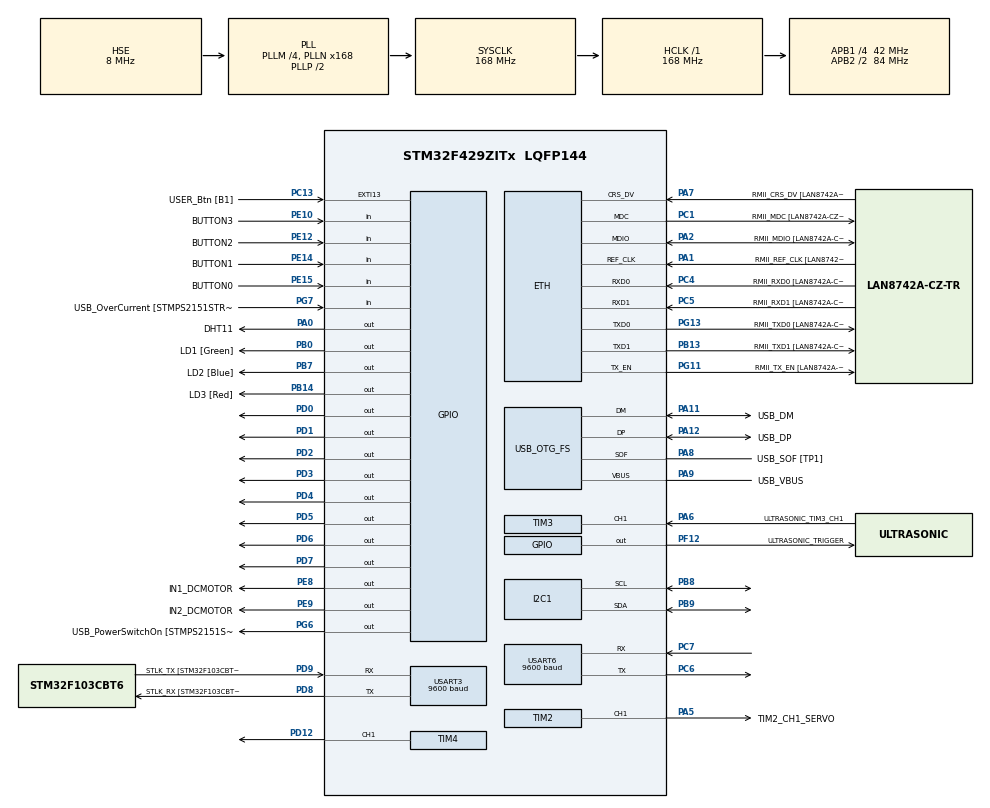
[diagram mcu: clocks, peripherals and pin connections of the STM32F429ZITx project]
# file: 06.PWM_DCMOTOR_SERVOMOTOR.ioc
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ETH.MediaInterface=HAL_ETH_RMII_MODE
ETH.PHY_Name=LAN8742A_PHY_ADDRESS
ETH.PHY_Value=0
ETH.PhyAddress=0
Mcu.Family=STM32F4
Mcu.Name=STM32F429ZITx
Mcu.Package=LQFP144
NVIC.PriorityGroup=NVIC_PRIORITYGROUP_4
NVIC.TIM1_TRG_COM_TIM11_IRQn=true\:0\:0\:false\:false\:true\:true\:true\:true
NVIC.TIM1_UP_TIM10_IRQn=true\:0\:0\:false\:false\:true\:true\:true\:true
NVIC.TIM2_IRQn=true\:0\:0\:false\:false\:true\:true\:true\:true
NVIC.TIM3_IRQn=true\:0\:0\:false\:false\:true\:true\:true\:true
NVIC.TIM4_IRQn=true\:0\:0\:false\:false\:true\:true\:true\:true
NVIC.USART3_IRQn=true\:0\:0\:false\:false\:true\:true\:true\:true
NVIC.USART6_IRQn=true\:0\:0\:false\:false\:true\:true\:true\:true
PA0/WKUP.GPIO_Label=DHT11
PA0/WKUP.Signal=GPIO_Output
PA1.GPIO_Label=RMII_REF_CLK [LAN8742A-CZ-TR_REFCLK0]
PA1.Mode=RMII
PA1.Signal=ETH_REF_CLK
PA10.GPIO_Label=USB_ID
PA10.Signal=USB_OTG_FS_ID
PA11.GPIO_Label=USB_DM
PA11.Mode=Device_Only
PA11.Signal=USB_OTG_FS_DM
PA12.GPIO_Label=USB_DP
PA12.Mode=Device_Only
PA12.Signal=USB_OTG_FS_DP
PA13.GPIO_Label=TMS
PA13.Mode=Serial_Wire
PA13.Signal=SYS_JTMS-SWDIO
PA14.GPIO_Label=TCK
PA14.Mode=Serial_Wire
PA14.Signal=SYS_JTCK-SWCLK
PA2.GPIO_Label=RMII_MDIO [LAN8742A-CZ-TR_MDIO]
PA2.Mode=RMII
PA2.Signal=ETH_MDIO
PA5.GPIO_Label=TIM2_CH1_SERVO
PA5.Signal=S_TIM2_CH1_ETR
PA6.GPIO_Label=ULTRASONIC_TIM3_CH1
PA6.Signal=S_TIM3_CH1
PA7.GPIO_Label=RMII_CRS_DV [LAN8742A-CZ-TR_CRS_DV]
PA7.Mode=RMII
PA7.Signal=ETH_CRS_DV
PA8.GPIO_Label=USB_SOF [TP1]
PA8.Mode=Activate_SOF_FS
PA8.Signal=USB_OTG_FS_SOF
PA9.GPIO_Label=USB_VBUS
PA9.Mode=Activate_VBUS
PA9.Signal=USB_OTG_FS_VBUS
PB0.GPIO_Label=LD1 [Green]
PB0.Signal=GPIO_Output
PB13.GPIO_Label=RMII_TXD1 [LAN8742A-CZ-TR_TXD1]
PB13.Mode=RMII
PB13.Signal=ETH_TXD1
PB14.GPIO_Label=LD3 [Red]
PB14.Signal=GPIO_Output
PB7.GPIO_Label=LD2 [Blue]
PB7.Signal=GPIO_Output
PB8.Mode=I2C
PB8.Signal=I2C1_SCL
PB9.Mode=I2C
PB9.Signal=I2C1_SDA
PC1.GPIO_Label=RMII_MDC [LAN8742A-CZ-TR_MDC]
PC1.Mode=RMII
PC1.Signal=ETH_MDC
PC13.GPIO_Label=USER_Btn [B1]
PC13.Signal=GPXTI13
PC14/OSC32_IN.Mode=LSE-External-Oscillator
PC14/OSC32_IN.Signal=RCC_OSC32_IN
PC15/OSC32_OUT.Mode=LSE-External-Oscillator
PC15/OSC32_OUT.Signal=RCC_OSC32_OUT
PC4.GPIO_Label=RMII_RXD0 [LAN8742A-CZ-TR_RXD0]
PC4.Mode=RMII
PC4.Signal=ETH_RXD0
PC5.GPIO_Label=RMII_RXD1 [LAN8742A-CZ-TR_RXD1]
PC5.Mode=RMII
PC5.Signal=ETH_RXD1
PC6.Mode=Asynchronous
PC6.Signal=USART6_TX
PC7.Mode=Asynchronous
PC7.Signal=USART6_RX
PD0.Signal=GPIO_Output
PD1.Signal=GPIO_Output
PD12.Signal=S_TIM4_CH1
PD2.Signal=GPIO_Output
PD3.Signal=GPIO_Output
PD4.Signal=GPIO_Output
PD5.Signal=GPIO_Output
PD6.Signal=GPIO_Output
PD7.Signal=GPIO_Output
PD8.GPIO_Label=STLK_RX [STM32F103CBT6_PA3]
PD8.Mode=Asynchronous
PD8.Signal=USART3_TX
PD9.GPIO_Label=STLK_TX [STM32F103CBT6_PA2]
PD9.Mode=Asynchronous
PD9.Signal=USART3_RX
PE10.GPIO_Label=BUTTON3
PE10.Signal=GPIO_Input
PE12.GPIO_Label=BUTTON2
PE12.Signal=GPIO_Input
PE14.GPIO_Label=BUTTON1
PE14.Signal=GPIO_Input
PE15.GPIO_Label=BUTTON0
PE15.Signal=GPIO_Input
PE8.GPIO_Label=IN1_DCMOTOR
PE8.Signal=GPIO_Output
PE9.GPIO_Label=IN2_DCMOTOR
PE9.Signal=GPIO_Output
PF12.GPIO_Label=ULTRASONIC_TRIGGER
PF12.Signal=GPIO_Output
PG11.GPIO_Label=RMII_TX_EN [LAN8742A-CZ-TR_TXEN]
PG11.Mode=RMII
PG11.Signal=ETH_TX_EN
PG13.GPIO_Label=RMII_TXD0 [LAN8742A-CZ-TR_TXD0]
PG13.Mode=RMII
PG13.Signal=ETH_TXD0
PG6.GPIO_Label=USB_PowerSwitchOn [STMPS2151STR_EN]
PG6.Signal=GPIO_Output
PG7.GPIO_Label=USB_OverCurrent [STMPS2151STR_FAULT]
PG7.Signal=GPIO_Input
PH0/OSC_IN.GPIO_Label=MCO [STM32F103CBT6_PA8]
PH0/OSC_IN.Mode=HSE-External-Clock-Source
PH0/OSC_IN.Signal=RCC_OSC_IN
PH1/OSC_OUT.Mode=HSE-External-Clock-Source
PH1/OSC_OUT.Signal=RCC_OSC_OUT
ProjectManager.HeapSize=0x200
ProjectManager.StackSize=0x400
ProjectManager.TargetToolchain=STM32CubeIDE
RCC.48MHZClocksFreq_Value=48000000
RCC.AHBFreq_Value=168000000
RCC.APB1CLKDivider=RCC_HCLK_DIV4
RCC.APB1Freq_Value=42000000
RCC.APB1TimFreq_Value=84000000
RCC.APB2CLKDivider=RCC_HCLK_DIV2
RCC.APB2Freq_Value=84000000
RCC.APB2TimCLKDivider=2
RCC.APB2TimFreq_Value=168000000
RCC.CortexFreq_Value=168000000
RCC.HCLKFreq_Value=168000000
RCC.HSE_VALUE=8000000
RCC.HSI_VALUE=16000000
RCC.PLLM=4
RCC.PLLMUL=RCC_PLL_MUL9
RCC.PLLN=168
RCC.PLLQ=7
RCC.PRESCALERUSB=RCC_USBCLKSOURCE_PLL_DIV1_5
RCC.SYSCLKFreq_VALUE=168000000
RCC.SYSCLKSource=RCC_SYSCLKSOURCE_PLLCLK
RCC.SYSCLKSourceVirtual=RCC_SYSCLKSOURCE_PLLCLK
RCC.USBFreq_Value=48000000
RCC.VCOOutputFreq_Value=336000000
SH.S_TIM2_CH1_ETR.0=TIM2_CH1,PWM Generation1 CH1
SH.S_TIM3_CH1.0=TIM3_CH1,Input_Capture1_from_TI1
SH.S_TIM4_CH1.0=TIM4_CH1,PWM Generation1 CH1
TIM10.Period=10000-1
TIM10.Prescaler=168-1
TIM11.Prescaler=168-1
TIM2.Channel-PWM\ Generation1\ CH1=TIM_CHANNEL_1
TIM2.Period=1000-1
TIM2.Prescaler=1680-1
TIM2.Pulse-PWM\ Generation1\ CH1=500-1
TIM3.Channel-Input_Capture1_from_TI1=TIM_CHANNEL_1
TIM3.ICPolarity_CH1=TIM_INPUTCHANNELPOLARITY_BOTHEDGE
TIM3.Prescaler=84-1
TIM4.Channel-PWM\ Generation1\ CH1=TIM_CHANNEL_1
TIM4.OCFastMode_PWM-PWM\ Generation1\ CH1=TIM_OCFAST_ENABLE
TIM4.Period=100-1
TIM4.Prescaler=840-1
TIM4.Pulse-PWM\ Generation1\ CH1=70-1
USART3.BaudRate=9600
USART3.VirtualMode=VM_ASYNC
USART6.BaudRate=9600
USART6.VirtualMode=VM_ASYNC
USB_OTG_FS.VirtualMode=Device_Only
VP_TIM10_VS_ClockSourceINT.Mode=Enable_Timer
VP_TIM11_VS_ClockSourceINT.Mode=Enable_Timer
VP_TIM4_VS_ClockSourceINT.Mode=Internal
board=NUCLEO-F429ZI

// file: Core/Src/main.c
/* USER CODE BEGIN Header */
/**
  ******************************************************************************
  * @file           : main.c
  * @brief          : Main program body
  ******************************************************************************
  * @attention
  *
  * Copyright (c) 2023 STMicroelectronics.
  * All rights reserved.
  *
  * This software is licensed under terms that can be found in the LICENSE file
  * in the root directory of this software component.
  * If no LICENSE file comes with this software, it is provided AS-IS.
  *
  ******************************************************************************
  */
/* USER CODE END Header */
#include "main.h"
#include "string.h"

ETH_TxPacketConfig TxConfig;
ETH_DMADescTypeDef  DMARxDscrTab[ETH_RX_DESC_CNT]; /* Ethernet Rx DMA Descriptors */
ETH_DMADescTypeDef  DMATxDscrTab[ETH_TX_DESC_CNT]; /* Ethernet Tx DMA Descriptors */

ETH_HandleTypeDef heth;

I2C_HandleTypeDef hi2c1;

TIM_HandleTypeDef htim2;
TIM_HandleTypeDef htim3;
TIM_HandleTypeDef htim4;
TIM_HandleTypeDef htim10;
TIM_HandleTypeDef htim11;

UART_HandleTypeDef huart3;
UART_HandleTypeDef huart6;

PCD_HandleTypeDef hpcd_USB_OTG_FS;

/* USER CODE BEGIN PV */
uint8_t rx_data;	// uart3 rx data
uint8_t bt_rx_data;	// uart6 bt rx data
volatile int TIM10_10ms_counter=0;
volatile int TIM10_10ms_ultrasonic=0;
/* USER CODE END PV */

void SystemClock_Config(void);
static void MX_GPIO_Init(void);
static void MX_ETH_Init(void);
static void MX_USART3_UART_Init(void);
static void MX_USB_OTG_FS_PCD_Init(void);
static void MX_USART6_UART_Init(void);
static void MX_TIM10_Init(void);
static void MX_TIM11_Init(void);
static void MX_TIM3_Init(void);
static void MX_I2C1_Init(void);
static void MX_TIM4_Init(void);
static void MX_TIM2_Init(void);
/* USER CODE BEGIN PFP */
extern void led_main(void);
extern void pc_command_processing(void);
extern void bt_command_processing(void);
extern void DHT11_main(void);
extern void DHT11_Init(void);
extern void DHT11_processing(void);
extern void ultrasonic_processing(void);
extern void i2c_lcd_main(void);
extern void i2c_lcd_init(void);
extern void lcd_string(uint8_t *str);
extern void move_cursor(uint8_t row, uint8_t column);
extern void dcmotor_pwm_control(void);
extern void servo_motor_test_main(void);

extern int toggle_DHT;
extern int toggle_sonic;
void delay_us(unsigned long us);

/* USER CODE END PFP */

/* USER CODE BEGIN 0 */
//-------------------
// call by SysTick_Handler of stm32f4xx_it.c
// ARM default timer
// enter here every 1ms
volatile int t1ms_counter = 0; // volatile : for disable optimize
void HAL_SYSTICK_Handler(void)
{
	t1ms_counter++;	// 1ms timer
}
//----------  printf start ----------
#ifdef __GNUC__
/* With GCC, small printf (option LD Linker->Libraries->Small printf
   set to 'Yes') calls __io_putchar() */
#define PUTCHAR_PROTOTYPE int __io_putchar(int ch)
#else
#define PUTCHAR_PROTOTYPE int fputc(int ch, FILE *f)
#endif /* __GNUC_ */
/**
  * @brief  Retargets the C library printf function to the USART.
  * @param  None
  * @retval None
  */
PUTCHAR_PROTOTYPE   // Add for printf
{
  /* Place your implementation of fputc here */
  /* e.g. write a character to the USART3 and Loop until the end of transmission */
  HAL_UART_Transmit(&huart3, (uint8_t *)&ch, 1, 0xFFFF);

  return ch;
}
//----------  printf end ----------

// move from Driver/STM32F4xx_HAL_Driver/stm32f4xx_hal_tim.c to here
// enter here when every timer INT occurs
void HAL_TIM_PeriodElapsedCallback(TIM_HandleTypeDef *htim)
{
	if(htim->Instance == TIM10)
	{
		TIM10_10ms_counter++; // 10ms timer counter
		TIM10_10ms_ultrasonic++; // ultrasonic trigger timer
	}
}

void delay_us(unsigned long us)
{
	__HAL_TIM_SET_COUNTER(&htim11, 0); // tim11 clear
	while(__HAL_TIM_GET_COUNTER(&htim11) < us);
}
/* USER CODE END 0 */

int main(void)
{

  /* MCU Configuration--------------------------------------------------------*/

  /* Reset of all peripherals, Initializes the Flash interface and the Systick. */
  HAL_Init();

  /* Configure the system clock */
  SystemClock_Config();

  /* Initialize all configured peripherals */
  MX_GPIO_Init();
  MX_ETH_Init();
  MX_USART3_UART_Init();
  MX_USB_OTG_FS_PCD_Init();
  MX_USART6_UART_Init();
  MX_TIM10_Init();
  MX_TIM11_Init();
  MX_TIM3_Init();
  MX_I2C1_Init();
  MX_TIM4_Init();
  MX_TIM2_Init();
  /* USER CODE BEGIN 2 */
  HAL_UART_Receive_IT(&huart3, &rx_data, 1); // assing to RX INT
  HAL_UART_Receive_IT(&huart6, &bt_rx_data, 1); // for BT assing to RX INT
  HAL_TIM_Base_Start_IT(&htim10);	// ADD_JONGHYUN_231011
  HAL_TIM_Base_Start_IT(&htim11);	// ADD_JONGHYUN_231011
  HAL_TIM_IC_Start_IT(&htim3, TIM_CHANNEL_1); // for count pulse(rising edge, & falling edge)
  HAL_TIM_PWM_Start_IT(&htim4, TIM_CHANNEL_1); // for DV motor PWM control
  HAL_TIM_PWM_Start(&htim2, TIM_CHANNEL_1); /// for SERVO motor PWM control

  DHT11_Init();
  //i2c_lcd_init();

  TIM10_10ms_counter=0;
  // led_main();
  //DHT11_main();
  //i2c_lcd_main();
  servo_motor_test_main();

  /* USER CODE END 2 */

  /* Infinite loop */
  /* USER CODE BEGIN WHILE */

  int toggle_counter=0;
  while (1)
  {

#if 0
//	  if(TIM10_10ms_counter >= 5) // 50ms
//	  {
//		  TIM10_10ms_counter=0;
//		  toggle_counter++;
//
//		  HAL_GPIO_TogglePin(GPIOB, GPIO_PIN_0);	//LED1
//		  if(toggle_counter % 2 == 0) // 5*2 ?�� 배수 10 20 30 40 ...
//			  HAL_GPIO_TogglePin(GPIOB, GPIO_PIN_7);	//LED2
//		  if(toggle_counter % 3 == 0) // 5*3 ?�� 배수 15 30  45 ...
//			  HAL_GPIO_TogglePin(GPIOB, GPIO_PIN_14);	//LED3
//
//	  }
#endif

#if 0
// ?��번출?��
//	  printf("7785\n");
//	  HAL_Delay(100);
#endif

	  //pc_command_processing();

	  //if(toggle_DHT==1)
	  DHT11_processing();
	  //if(toggle_sonic==1)
	  ultrasonic_processing();
	  dcmotor_pwm_control();

	  //bt_command_processing();

    /* USER CODE END WHILE */

  }
}

void SystemClock_Config(void)
{
  RCC_OscInitTypeDef RCC_OscInitStruct = {0};
  RCC_ClkInitTypeDef RCC_ClkInitStruct = {0};

  /** Configure the main internal regulator output voltage
  */
  __HAL_RCC_PWR_CLK_ENABLE();
  __HAL_PWR_VOLTAGESCALING_CONFIG(PWR_REGULATOR_VOLTAGE_SCALE1);

  /** Initializes the RCC Oscillators according to the specified parameters
  * in the RCC_OscInitTypeDef structure.
  */
  RCC_OscInitStruct.OscillatorType = RCC_OSCILLATORTYPE_HSE;
  RCC_OscInitStruct.HSEState = RCC_HSE_BYPASS;
  RCC_OscInitStruct.PLL.PLLState = RCC_PLL_ON;
  RCC_OscInitStruct.PLL.PLLSource = RCC_PLLSOURCE_HSE;
  RCC_OscInitStruct.PLL.PLLM = 4;
  RCC_OscInitStruct.PLL.PLLN = 168;
  RCC_OscInitStruct.PLL.PLLP = RCC_PLLP_DIV2;
  RCC_OscInitStruct.PLL.PLLQ = 7;
  if (HAL_RCC_OscConfig(&RCC_OscInitStruct) != HAL_OK)
  {
    Error_Handler();
  }

  /** Initializes the CPU, AHB and APB buses clocks
  */
  RCC_ClkInitStruct.ClockType = RCC_CLOCKTYPE_HCLK|RCC_CLOCKTYPE_SYSCLK
                              |RCC_CLOCKTYPE_PCLK1|RCC_CLOCKTYPE_PCLK2;
  RCC_ClkInitStruct.SYSCLKSource = RCC_SYSCLKSOURCE_PLLCLK;
  RCC_ClkInitStruct.AHBCLKDivider = RCC_SYSCLK_DIV1;
  RCC_ClkInitStruct.APB1CLKDivider = RCC_HCLK_DIV4;
  RCC_ClkInitStruct.APB2CLKDivider = RCC_HCLK_DIV2;

  if (HAL_RCC_ClockConfig(&RCC_ClkInitStruct, FLASH_LATENCY_5) != HAL_OK)
  {
    Error_Handler();
  }
}

static void MX_ETH_Init(void)
{

   static uint8_t MACAddr[6];

  heth.Instance = ETH;
  MACAddr[0] = 0x00;
  MACAddr[1] = 0x80;
  MACAddr[2] = 0xE1;
  MACAddr[3] = 0x00;
  MACAddr[4] = 0x00;
  MACAddr[5] = 0x00;
  heth.Init.MACAddr = &MACAddr[0];
  heth.Init.MediaInterface = HAL_ETH_RMII_MODE;
  heth.Init.TxDesc = DMATxDscrTab;
  heth.Init.RxDesc = DMARxDscrTab;
  heth.Init.RxBuffLen = 1524;

  if (HAL_ETH_Init(&heth) != HAL_OK)
  {
    Error_Handler();
  }

  memset(&TxConfig, 0 , sizeof(ETH_TxPacketConfig));
  TxConfig.Attributes = ETH_TX_PACKETS_FEATURES_CSUM | ETH_TX_PACKETS_FEATURES_CRCPAD;
  TxConfig.ChecksumCtrl = ETH_CHECKSUM_IPHDR_PAYLOAD_INSERT_PHDR_CALC;
  TxConfig.CRCPadCtrl = ETH_CRC_PAD_INSERT;

}

static void MX_I2C1_Init(void)
{

  hi2c1.Instance = I2C1;
  hi2c1.Init.ClockSpeed = 100000;
  hi2c1.Init.DutyCycle = I2C_DUTYCYCLE_2;
  hi2c1.Init.OwnAddress1 = 0;
  hi2c1.Init.AddressingMode = I2C_ADDRESSINGMODE_7BIT;
  hi2c1.Init.DualAddressMode = I2C_DUALADDRESS_DISABLE;
  hi2c1.Init.OwnAddress2 = 0;
  hi2c1.Init.GeneralCallMode = I2C_GENERALCALL_DISABLE;
  hi2c1.Init.NoStretchMode = I2C_NOSTRETCH_DISABLE;
  if (HAL_I2C_Init(&hi2c1) != HAL_OK)
  {
    Error_Handler();
  }

  /** Configure Analogue filter
  */
  if (HAL_I2CEx_ConfigAnalogFilter(&hi2c1, I2C_ANALOGFILTER_ENABLE) != HAL_OK)
  {
    Error_Handler();
  }

  /** Configure Digital filter
  */
  if (HAL_I2CEx_ConfigDigitalFilter(&hi2c1, 0) != HAL_OK)
  {
    Error_Handler();
  }

}

static void MX_TIM2_Init(void)
{

  TIM_MasterConfigTypeDef sMasterConfig = {0};
  TIM_OC_InitTypeDef sConfigOC = {0};

  htim2.Instance = TIM2;
  htim2.Init.Prescaler = 1680-1;
  htim2.Init.CounterMode = TIM_COUNTERMODE_UP;
  htim2.Init.Period = 1000-1;
  htim2.Init.ClockDivision = TIM_CLOCKDIVISION_DIV1;
  htim2.Init.AutoReloadPreload = TIM_AUTORELOAD_PRELOAD_DISABLE;
  if (HAL_TIM_PWM_Init(&htim2) != HAL_OK)
  {
    Error_Handler();
  }
  sMasterConfig.MasterOutputTrigger = TIM_TRGO_RESET;
  sMasterConfig.MasterSlaveMode = TIM_MASTERSLAVEMODE_DISABLE;
  if (HAL_TIMEx_MasterConfigSynchronization(&htim2, &sMasterConfig) != HAL_OK)
  {
    Error_Handler();
  }
  sConfigOC.OCMode = TIM_OCMODE_PWM1;
  sConfigOC.Pulse = 500-1;
  sConfigOC.OCPolarity = TIM_OCPOLARITY_HIGH;
  sConfigOC.OCFastMode = TIM_OCFAST_DISABLE;
  if (HAL_TIM_PWM_ConfigChannel(&htim2, &sConfigOC, TIM_CHANNEL_1) != HAL_OK)
  {
    Error_Handler();
  }
  HAL_TIM_MspPostInit(&htim2);

}

static void MX_TIM3_Init(void)
{

  TIM_MasterConfigTypeDef sMasterConfig = {0};
  TIM_IC_InitTypeDef sConfigIC = {0};

  htim3.Instance = TIM3;
  htim3.Init.Prescaler = 84-1;
  htim3.Init.CounterMode = TIM_COUNTERMODE_UP;
  htim3.Init.Period = 65535;
  htim3.Init.ClockDivision = TIM_CLOCKDIVISION_DIV1;
  htim3.Init.AutoReloadPreload = TIM_AUTORELOAD_PRELOAD_DISABLE;
  if (HAL_TIM_IC_Init(&htim3) != HAL_OK)
  {
    Error_Handler();
  }
  sMasterConfig.MasterOutputTrigger = TIM_TRGO_RESET;
  sMasterConfig.MasterSlaveMode = TIM_MASTERSLAVEMODE_DISABLE;
  if (HAL_TIMEx_MasterConfigSynchronization(&htim3, &sMasterConfig) != HAL_OK)
  {
    Error_Handler();
  }
  sConfigIC.ICPolarity = TIM_INPUTCHANNELPOLARITY_BOTHEDGE;
  sConfigIC.ICSelection = TIM_ICSELECTION_DIRECTTI;
  sConfigIC.ICPrescaler = TIM_ICPSC_DIV1;
  sConfigIC.ICFilter = 0;
  if (HAL_TIM_IC_ConfigChannel(&htim3, &sConfigIC, TIM_CHANNEL_1) != HAL_OK)
  {
    Error_Handler();
  }

}

static void MX_TIM4_Init(void)
{

  TIM_ClockConfigTypeDef sClockSourceConfig = {0};
  TIM_MasterConfigTypeDef sMasterConfig = {0};
  TIM_OC_InitTypeDef sConfigOC = {0};

  htim4.Instance = TIM4;
  htim4.Init.Prescaler = 840-1;
  htim4.Init.CounterMode = TIM_COUNTERMODE_UP;
  htim4.Init.Period = 100-1;
  htim4.Init.ClockDivision = TIM_CLOCKDIVISION_DIV1;
  htim4.Init.AutoReloadPreload = TIM_AUTORELOAD_PRELOAD_DISABLE;
  if (HAL_TIM_Base_Init(&htim4) != HAL_OK)
  {
    Error_Handler();
  }
  sClockSourceConfig.ClockSource = TIM_CLOCKSOURCE_INTERNAL;
  if (HAL_TIM_ConfigClockSource(&htim4, &sClockSourceConfig) != HAL_OK)
  {
    Error_Handler();
  }
  if (HAL_TIM_PWM_Init(&htim4) != HAL_OK)
  {
    Error_Handler();
  }
  sMasterConfig.MasterOutputTrigger = TIM_TRGO_RESET;
  sMasterConfig.MasterSlaveMode = TIM_MASTERSLAVEMODE_DISABLE;
  if (HAL_TIMEx_MasterConfigSynchronization(&htim4, &sMasterConfig) != HAL_OK)
  {
    Error_Handler();
  }
  sConfigOC.OCMode = TIM_OCMODE_PWM1;
  sConfigOC.Pulse = 70-1;
  sConfigOC.OCPolarity = TIM_OCPOLARITY_HIGH;
  sConfigOC.OCFastMode = TIM_OCFAST_ENABLE;
  if (HAL_TIM_PWM_ConfigChannel(&htim4, &sConfigOC, TIM_CHANNEL_1) != HAL_OK)
  {
    Error_Handler();
  }
  HAL_TIM_MspPostInit(&htim4);

}

static void MX_TIM10_Init(void)
{

  htim10.Instance = TIM10;
  htim10.Init.Prescaler = 168-1;
  htim10.Init.CounterMode = TIM_COUNTERMODE_UP;
  htim10.Init.Period = 10000-1;
  htim10.Init.ClockDivision = TIM_CLOCKDIVISION_DIV1;
  htim10.Init.AutoReloadPreload = TIM_AUTORELOAD_PRELOAD_DISABLE;
  if (HAL_TIM_Base_Init(&htim10) != HAL_OK)
  {
    Error_Handler();
  }

}

static void MX_TIM11_Init(void)
{

  htim11.Instance = TIM11;
  htim11.Init.Prescaler = 168-1;
  htim11.Init.CounterMode = TIM_COUNTERMODE_UP;
  htim11.Init.Period = 65535;
  htim11.Init.ClockDivision = TIM_CLOCKDIVISION_DIV1;
  htim11.Init.AutoReloadPreload = TIM_AUTORELOAD_PRELOAD_DISABLE;
  if (HAL_TIM_Base_Init(&htim11) != HAL_OK)
  {
    Error_Handler();
  }

}

static void MX_USART3_UART_Init(void)
{

  huart3.Instance = USART3;
  huart3.Init.BaudRate = 9600;
  huart3.Init.WordLength = UART_WORDLENGTH_8B;
  huart3.Init.StopBits = UART_STOPBITS_1;
  huart3.Init.Parity = UART_PARITY_NONE;
  huart3.Init.Mode = UART_MODE_TX_RX;
  huart3.Init.HwFlowCtl = UART_HWCONTROL_NONE;
  huart3.Init.OverSampling = UART_OVERSAMPLING_16;
  if (HAL_UART_Init(&huart3) != HAL_OK)
  {
    Error_Handler();
  }

}

static void MX_USART6_UART_Init(void)
{

  huart6.Instance = USART6;
  huart6.Init.BaudRate = 9600;
  huart6.Init.WordLength = UART_WORDLENGTH_8B;
  huart6.Init.StopBits = UART_STOPBITS_1;
  huart6.Init.Parity = UART_PARITY_NONE;
  huart6.Init.Mode = UART_MODE_TX_RX;
  huart6.Init.HwFlowCtl = UART_HWCONTROL_NONE;
  huart6.Init.OverSampling = UART_OVERSAMPLING_16;
  if (HAL_UART_Init(&huart6) != HAL_OK)
  {
    Error_Handler();
  }

}

static void MX_USB_OTG_FS_PCD_Init(void)
{

  hpcd_USB_OTG_FS.Instance = USB_OTG_FS;
  hpcd_USB_OTG_FS.Init.dev_endpoints = 4;
  hpcd_USB_OTG_FS.Init.speed = PCD_SPEED_FULL;
  hpcd_USB_OTG_FS.Init.dma_enable = DISABLE;
  hpcd_USB_OTG_FS.Init.phy_itface = PCD_PHY_EMBEDDED;
  hpcd_USB_OTG_FS.Init.Sof_enable = ENABLE;
  hpcd_USB_OTG_FS.Init.low_power_enable = DISABLE;
  hpcd_USB_OTG_FS.Init.lpm_enable = DISABLE;
  hpcd_USB_OTG_FS.Init.vbus_sensing_enable = ENABLE;
  hpcd_USB_OTG_FS.Init.use_dedicated_ep1 = DISABLE;
  if (HAL_PCD_Init(&hpcd_USB_OTG_FS) != HAL_OK)
  {
    Error_Handler();
  }

}

static void MX_GPIO_Init(void)
{
  GPIO_InitTypeDef GPIO_InitStruct = {0};

  /* GPIO Ports Clock Enable */
  __HAL_RCC_GPIOC_CLK_ENABLE();
  __HAL_RCC_GPIOH_CLK_ENABLE();
  __HAL_RCC_GPIOA_CLK_ENABLE();
  __HAL_RCC_GPIOB_CLK_ENABLE();
  __HAL_RCC_GPIOF_CLK_ENABLE();
  __HAL_RCC_GPIOE_CLK_ENABLE();
  __HAL_RCC_GPIOD_CLK_ENABLE();
  __HAL_RCC_GPIOG_CLK_ENABLE();

  /*Configure GPIO pin Output Level */
  HAL_GPIO_WritePin(DHT11_GPIO_Port, DHT11_Pin, GPIO_PIN_RESET);

  /*Configure GPIO pin Output Level */
  HAL_GPIO_WritePin(GPIOB, LD1_Pin|LD3_Pin|LD2_Pin, GPIO_PIN_RESET);

  /*Configure GPIO pin Output Level */
  HAL_GPIO_WritePin(ULTRASONIC_TRIGGER_GPIO_Port, ULTRASONIC_TRIGGER_Pin, GPIO_PIN_RESET);

  /*Configure GPIO pin Output Level */
  HAL_GPIO_WritePin(GPIOE, IN1_DCMOTOR_Pin|IN2_DCMOTOR_Pin, GPIO_PIN_RESET);

  /*Configure GPIO pin Output Level */
  HAL_GPIO_WritePin(USB_PowerSwitchOn_GPIO_Port, USB_PowerSwitchOn_Pin, GPIO_PIN_RESET);

  /*Configure GPIO pin Output Level */
  HAL_GPIO_WritePin(GPIOD, GPIO_PIN_0|GPIO_PIN_1|GPIO_PIN_2|GPIO_PIN_3
                          |GPIO_PIN_4|GPIO_PIN_5|GPIO_PIN_6|GPIO_PIN_7, GPIO_PIN_RESET);

  /*Configure GPIO pin : USER_Btn_Pin */
  GPIO_InitStruct.Pin = USER_Btn_Pin;
  GPIO_InitStruct.Mode = GPIO_MODE_IT_RISING;
  GPIO_InitStruct.Pull = GPIO_NOPULL;
  HAL_GPIO_Init(USER_Btn_GPIO_Port, &GPIO_InitStruct);

  /*Configure GPIO pin : DHT11_Pin */
  GPIO_InitStruct.Pin = DHT11_Pin;
  GPIO_InitStruct.Mode = GPIO_MODE_OUTPUT_PP;
  GPIO_InitStruct.Pull = GPIO_NOPULL;
  GPIO_InitStruct.Speed = GPIO_SPEED_FREQ_LOW;
  HAL_GPIO_Init(DHT11_GPIO_Port, &GPIO_InitStruct);

  /*Configure GPIO pins : LD1_Pin LD3_Pin LD2_Pin */
  GPIO_InitStruct.Pin = LD1_Pin|LD3_Pin|LD2_Pin;
  GPIO_InitStruct.Mode = GPIO_MODE_OUTPUT_PP;
  GPIO_InitStruct.Pull = GPIO_NOPULL;
  GPIO_InitStruct.Speed = GPIO_SPEED_FREQ_LOW;
  HAL_GPIO_Init(GPIOB, &GPIO_InitStruct);

  /*Configure GPIO pin : ULTRASONIC_TRIGGER_Pin */
  GPIO_InitStruct.Pin = ULTRASONIC_TRIGGER_Pin;
  GPIO_InitStruct.Mode = GPIO_MODE_OUTPUT_PP;
  GPIO_InitStruct.Pull = GPIO_NOPULL;
  GPIO_InitStruct.Speed = GPIO_SPEED_FREQ_LOW;
  HAL_GPIO_Init(ULTRASONIC_TRIGGER_GPIO_Port, &GPIO_InitStruct);

  /*Configure GPIO pins : IN1_DCMOTOR_Pin IN2_DCMOTOR_Pin */
  GPIO_InitStruct.Pin = IN1_DCMOTOR_Pin|IN2_DCMOTOR_Pin;
  GPIO_InitStruct.Mode = GPIO_MODE_OUTPUT_PP;
  GPIO_InitStruct.Pull = GPIO_NOPULL;
  GPIO_InitStruct.Speed = GPIO_SPEED_FREQ_LOW;
  HAL_GPIO_Init(GPIOE, &GPIO_InitStruct);

  /*Configure GPIO pins : BUTTON3_Pin BUTTON2_Pin BUTTON1_Pin BUTTON0_Pin */
  GPIO_InitStruct.Pin = BUTTON3_Pin|BUTTON2_Pin|BUTTON1_Pin|BUTTON0_Pin;
  GPIO_InitStruct.Mode = GPIO_MODE_INPUT;
  GPIO_InitStruct.Pull = GPIO_NOPULL;
  HAL_GPIO_Init(GPIOE, &GPIO_InitStruct);

  /*Configure GPIO pin : USB_PowerSwitchOn_Pin */
  GPIO_InitStruct.Pin = USB_PowerSwitchOn_Pin;
  GPIO_InitStruct.Mode = GPIO_MODE_OUTPUT_PP;
  GPIO_InitStruct.Pull = GPIO_NOPULL;
  GPIO_InitStruct.Speed = GPIO_SPEED_FREQ_LOW;
  HAL_GPIO_Init(USB_PowerSwitchOn_GPIO_Port, &GPIO_InitStruct);

  /*Configure GPIO pin : USB_OverCurrent_Pin */
  GPIO_InitStruct.Pin = USB_OverCurrent_Pin;
  GPIO_InitStruct.Mode = GPIO_MODE_INPUT;
  GPIO_InitStruct.Pull = GPIO_NOPULL;
  HAL_GPIO_Init(USB_OverCurrent_GPIO_Port, &GPIO_InitStruct);

  /*Configure GPIO pins : PD0 PD1 PD2 PD3
                           PD4 PD5 PD6 PD7 */
  GPIO_InitStruct.Pin = GPIO_PIN_0|GPIO_PIN_1|GPIO_PIN_2|GPIO_PIN_3
                          |GPIO_PIN_4|GPIO_PIN_5|GPIO_PIN_6|GPIO_PIN_7;
  GPIO_InitStruct.Mode = GPIO_MODE_OUTPUT_PP;
  GPIO_InitStruct.Pull = GPIO_NOPULL;
  GPIO_InitStruct.Speed = GPIO_SPEED_FREQ_LOW;
  HAL_GPIO_Init(GPIOD, &GPIO_InitStruct);

}

void Error_Handler(void)
{
  __disable_irq();
  while (1)
  {
  }
}
